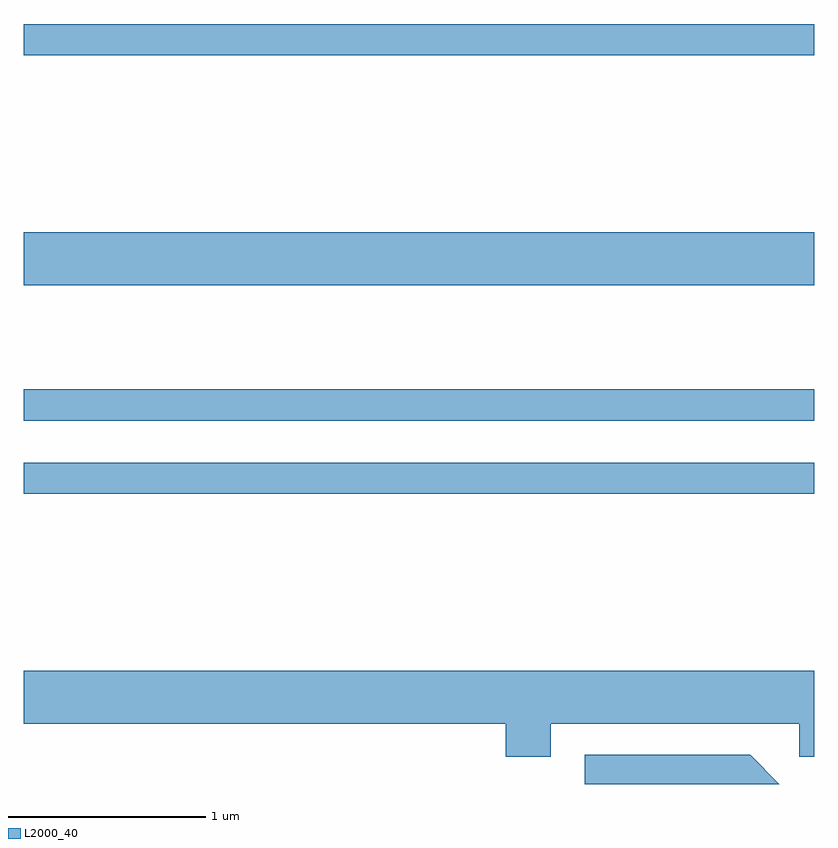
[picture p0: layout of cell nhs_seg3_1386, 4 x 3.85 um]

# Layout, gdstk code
import gdstk
lib = gdstk.Library(unit=1e-6, precision=1e-09)
def R(c, l, rs):  # rectangles x0, y0, x1, y1
    for r in rs: c.add(gdstk.rectangle(r[:2], r[2:], *l))
def P(c, l, *ps):  # polygons
    for p in ps: c.add(gdstk.Polygon(p, *l))
L2000_40 = (2000, 40)

nhs_seg3_1386 = lib.new_cell('nhs_seg3_1386')
R(nhs_seg3_1386, L2000_40, [(225.611,1169.361,229.611,1169.519), (225.611,1169.731,229.611,1169.889), (225.611,1170.416,229.611,1170.684), (225.611,1171.581,229.611,1171.739)])
P(nhs_seg3_1386, L2000_40, [(228.279,1168.196),(229.536,1168.196),(229.536,1168.031),(229.611,1168.031),(229.611,1168.464),(225.611,1168.464),(225.611,1168.196),(228.051,1168.196),(228.051,1168.031),(228.279,1168.031)],
  [(229.287,1168.039),(228.451,1168.039),(228.451,1167.892),(229.434,1167.892)])

lib.write_gds('nhs_seg3_1386.gds')
